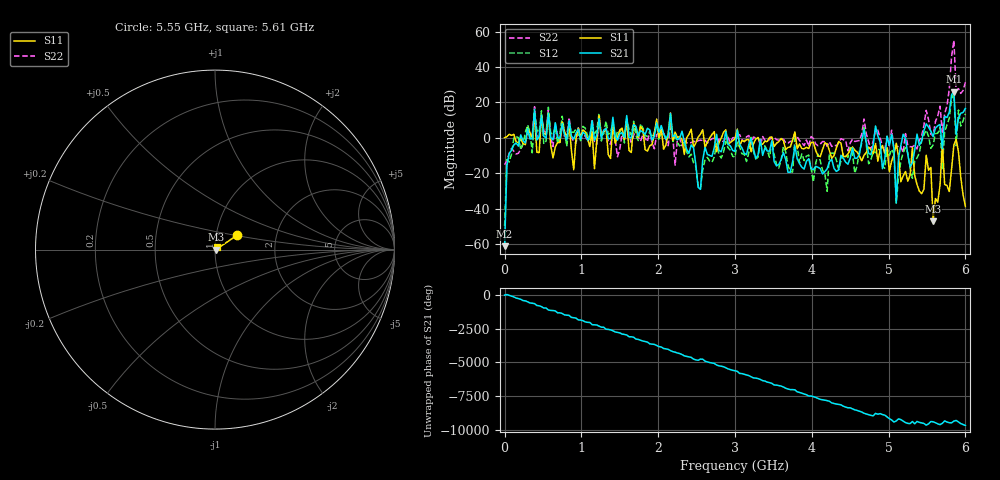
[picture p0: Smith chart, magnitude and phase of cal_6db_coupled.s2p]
#  HZ  S  DB  R  50.0
! Rohde & Schwarz ZVL13 2Ports - Version 3.20 - 1303.6509k13 SN: 100953
! Date: 2024-10-09 08:19:14
! Data & Calibration Information:
! Trc1:S11(TOSM) Trc4:S21(TOSM) Trc2:S12(TOSM) Trc3:S22(TOSM)
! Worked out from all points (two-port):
!   201 points, 9 kHz to 6 GHz, reference 50 ohm
!   highest |S21| = 26.18 dB at 5.85 GHz (marker M1); lowest = -61.2 dB at 9 kHz (marker M2)
!   |S21| within 3 dB of the highest: 5.817 GHz to 5.854 GHz (37.12 MHz wide, 0.636 % of centre)
!   lowest |S11| = -47.1 dB at 5.58 GHz (marker M3), VSWR 1.01, Z = 50.4 - j0.116 ohm
!   |S11| at or under -10 dB: 5.127 GHz to 5.301 GHz (174.1 MHz wide, 3.34 % of centre); 5.319 GHz to 5.49 GHz (171.2 MHz wide, 3.17 % of centre); 5.491 GHz to 5.692 GHz (200.8 MHz wide, 3.59 % of centre) (the widest 3 of 15)
!   |S22| runs from -15.4 to 55.0 dB; largest |S21 - S12| = 9.7
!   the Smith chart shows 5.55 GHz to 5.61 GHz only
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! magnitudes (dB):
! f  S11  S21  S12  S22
! 9 kHz  0.1  -61.2  -49.7  -15.1
! 60.01 MHz  2.0  -8.8  -13.7  -8.7
! 390 MHz  12.7  16.2  13.9  17.6
! 630 MHz  -11.3  -1.1  1.5  -4.9
! 840 MHz  7.9  9.8  8.2  11.4
! 900 MHz  -17.9  -0.7  3.1  -2.2
! 1.02 GHz  4.5  3.1  6.5  0.1
! 2.01 GHz  0.2  3.2  -1.5  2.9
! 2.55 GHz  2.1  -29.1  -28.8  -1.3
! 3 GHz  -0.5  -7.6  -10.8  0.1
! 4.02 GHz  -2.4  -18.0  -24.9  -0.3
! 4.68 GHz  -9.9  4.6  6.4  10.7
! 5.01 GHz  -19.2  -4.2  -9.9  -4.5
! 5.1 GHz  -3.0  -36.7  -36.9  -5.7
! 5.19 GHz  -21.5  2.0  -8.2  -8.4
! 5.49 GHz  -9.8  7.9  4.4  15.5
! 5.58 GHz  -47.1  0.7  -3.9  1.3
! 5.7 GHz  -3.5  -6.1  -17.3  3.1
! 5.79 GHz  -30.3  14.4  11.0  27.5
! 5.85 GHz  -4.1  26.2  25.2  55.0
! 5.88 GHz  -0.8  1.9  -4.5  26.8
! 6 GHz  -38.8  16.6  13.6  31.4
